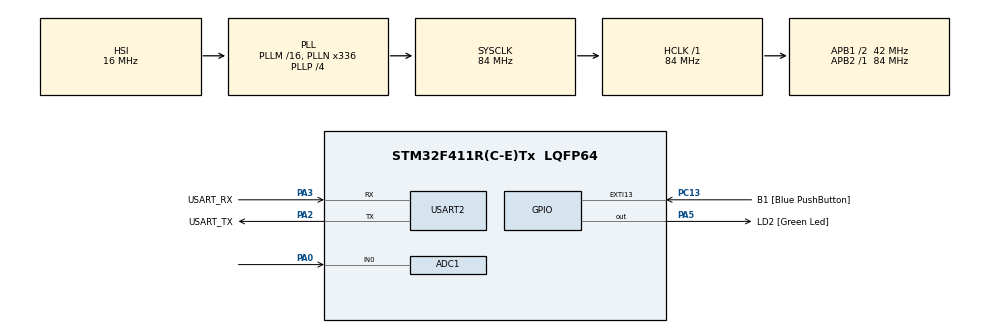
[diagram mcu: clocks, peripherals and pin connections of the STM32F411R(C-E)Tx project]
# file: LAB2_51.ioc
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ADC1.Channel-0\#ChannelRegularConversion=ADC_CHANNEL_0
ADC1.Channel-1\#ChannelRegularConversion=ADC_CHANNEL_TEMPSENSOR
ADC1.ContinuousConvMode=ENABLE
ADC1.DMAContinuousRequests=ENABLE
ADC1.EOCSelection=ADC_EOC_SEQ_CONV
ADC1.NbrOfConversion=2
ADC1.NbrOfConversionFlag=1
ADC1.Rank-0\#ChannelRegularConversion=1
ADC1.Rank-1\#ChannelRegularConversion=2
ADC1.SamplingTime-0\#ChannelRegularConversion=ADC_SAMPLETIME_56CYCLES
ADC1.SamplingTime-1\#ChannelRegularConversion=ADC_SAMPLETIME_56CYCLES
ADC1.ScanConvMode=ENABLE
ADC1.master=1
Dma.ADC1.0.Direction=DMA_PERIPH_TO_MEMORY
Dma.ADC1.0.FIFOMode=DMA_FIFOMODE_DISABLE
Dma.ADC1.0.Instance=DMA2_Stream0
Dma.ADC1.0.MemDataAlignment=DMA_MDATAALIGN_HALFWORD
Dma.ADC1.0.MemInc=DMA_MINC_ENABLE
Dma.ADC1.0.Mode=DMA_CIRCULAR
Dma.ADC1.0.PeriphDataAlignment=DMA_PDATAALIGN_HALFWORD
Dma.ADC1.0.PeriphInc=DMA_PINC_DISABLE
Dma.ADC1.0.Priority=DMA_PRIORITY_LOW
Dma.Request0=ADC1
Mcu.Family=STM32F4
Mcu.Name=STM32F411R(C-E)Tx
Mcu.Package=LQFP64
NVIC.DMA2_Stream0_IRQn=true\:0\:0\:false\:false\:true\:false\:true\:true
NVIC.PriorityGroup=NVIC_PRIORITYGROUP_0
PA0-WKUP.Signal=ADCx_IN0
PA13.GPIO_Label=TMS
PA13.Mode=Serial_Wire
PA13.Signal=SYS_JTMS-SWDIO
PA14.GPIO_Label=TCK
PA14.Mode=Serial_Wire
PA14.Signal=SYS_JTCK-SWCLK
PA2.GPIO_Label=USART_TX
PA2.Mode=Asynchronous
PA2.Signal=USART2_TX
PA3.GPIO_Label=USART_RX
PA3.Mode=Asynchronous
PA3.Signal=USART2_RX
PA5.GPIO_Label=LD2 [Green Led]
PA5.Signal=GPIO_Output
PB3.GPIO_Label=SWO
PB3.Signal=SYS_JTDO-SWO
PC13-ANTI_TAMP.GPIO_Label=B1 [Blue PushButton]
PC13-ANTI_TAMP.GPIO_ModeDefaultEXTI=GPIO_MODE_IT_FALLING
PC13-ANTI_TAMP.Signal=GPXTI13
PC14-OSC32_IN.Mode=LSE-External-Oscillator
PC14-OSC32_IN.Signal=RCC_OSC32_IN
PC15-OSC32_OUT.Mode=LSE-External-Oscillator
PC15-OSC32_OUT.Signal=RCC_OSC32_OUT
PH0\ -\ OSC_IN.Mode=HSE-External-Clock-Source
PH0\ -\ OSC_IN.Signal=RCC_OSC_IN
PH1\ -\ OSC_OUT.Mode=HSE-External-Clock-Source
PH1\ -\ OSC_OUT.Signal=RCC_OSC_OUT
ProjectManager.HeapSize=0x200
ProjectManager.StackSize=0x400
ProjectManager.TargetToolchain=STM32CubeIDE
RCC.48MHZClocksFreq_Value=84000000
RCC.AHBFreq_Value=84000000
RCC.APB1CLKDivider=RCC_HCLK_DIV2
RCC.APB1Freq_Value=42000000
RCC.APB1TimFreq_Value=84000000
RCC.APB2Freq_Value=84000000
RCC.APB2TimFreq_Value=84000000
RCC.CortexFreq_Value=84000000
RCC.FLatency-AdvancedSettings=FLASH_LATENCY_2
RCC.HCLKFreq_Value=84000000
RCC.HSE_VALUE=8000000
RCC.HSI_VALUE=16000000
RCC.PLLN=336
RCC.PLLP=RCC_PLLP_DIV4
RCC.SYSCLKFreq_VALUE=84000000
RCC.SYSCLKSource=RCC_SYSCLKSOURCE_PLLCLK
RCC.VCOOutputFreq_Value=336000000
SH.ADCx_IN0.0=ADC1_IN0,IN0
USART2.VirtualMode=VM_ASYNC
VP_ADC1_TempSens_Input.Mode=IN-TempSens
board=NUCLEO-F411RE

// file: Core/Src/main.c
/* USER CODE BEGIN Header */
/**
  ******************************************************************************
  * @file           : main.c
  * @brief          : Main program body
  ******************************************************************************
  * @attention
  *
  * Copyright (c) 2023 STMicroelectronics.
  * All rights reserved.
  *
  * This software is licensed under terms that can be found in the LICENSE file
  * in the root directory of this software component.
  * If no LICENSE file comes with this software, it is provided AS-IS.
  *
  ******************************************************************************
  */
/* USER CODE END Header */
#include "main.h"

ADC_HandleTypeDef hadc1;
DMA_HandleTypeDef hdma_adc1;

UART_HandleTypeDef huart2;

/* USER CODE BEGIN PV */
uint16_t buf[20];

static uint32_t timestamp = 0;

static double temp 	= 0.0;
static double ana_0 = 0.0;
static double t_c 	= 0.0;
static double a_c 	= 0.0;

static double temp_s = 0.0;
static double ana_0_s = 0.0;
static double ana_0_s_5 = 0.0;
/* USER CODE END PV */

void SystemClock_Config(void);
static void MX_GPIO_Init(void);
static void MX_DMA_Init(void);
static void MX_USART2_UART_Init(void);
static void MX_ADC1_Init(void);

int main(void)
{

  /* MCU Configuration--------------------------------------------------------*/

  /* Reset of all peripherals, Initializes the Flash interface and the Systick. */
  HAL_Init();

  /* Configure the system clock */
  SystemClock_Config();

  /* Initialize all configured peripherals */
  MX_GPIO_Init();
  MX_DMA_Init();
  MX_USART2_UART_Init();
  MX_ADC1_Init();
  /* USER CODE BEGIN 2 */
  HAL_ADC_Start_DMA(&hadc1,(uint32_t*)buf, 20);

  /* USER CODE END 2 */

  /* Infinite loop */
  while (1)
  {

    /* USER CODE BEGIN 3 */
	  if(HAL_GetTick()>timestamp){
	  		  timestamp = HAL_GetTick()+1000;

	  		  for(int i=0;i<20;i=i+2){	//0 2 4 6 8 10 12 14 16 18 20
	  			  ana_0 += buf[i];
	  			  if(buf[i] != 0){
	  				  a_c++;
	  			  }
	  		  }

	  		  ana_0 /= a_c;

	  		  ana_0 /= 4096;
	  		  ana_0 *= 3300;

	  		  for(int i=1;i<20;i=i+2){ // 1 3 5 7 9 11 13 15 17 19
	  			  temp += buf[i];
	  			  if(buf[i] != 0){
					  t_c++;
				  }
	  		  }

	  		  temp /= t_c;

	  		  temp /= 4096;
	  		  temp *= 3300; //convert to mV

	  		  temp = ((temp - 760)/2.5)+ 25; //to Celsius

	  		  temp_s = temp;
	  		  ana_0_s = ana_0;
	  		  ana_0_s_5 = ana_0 * 2;

	  		  int hello = 69;

	  		  temp 	= 0;
			  ana_0 = 0;
			  t_c 	= 0;
			  a_c 	= 0;
	  }
  }
  /* USER CODE END 3 */
}

void SystemClock_Config(void)
{
  RCC_OscInitTypeDef RCC_OscInitStruct = {0};
  RCC_ClkInitTypeDef RCC_ClkInitStruct = {0};

  /** Configure the main internal regulator output voltage
  */
  __HAL_RCC_PWR_CLK_ENABLE();
  __HAL_PWR_VOLTAGESCALING_CONFIG(PWR_REGULATOR_VOLTAGE_SCALE1);

  /** Initializes the RCC Oscillators according to the specified parameters
  * in the RCC_OscInitTypeDef structure.
  */
  RCC_OscInitStruct.OscillatorType = RCC_OSCILLATORTYPE_HSI;
  RCC_OscInitStruct.HSIState = RCC_HSI_ON;
  RCC_OscInitStruct.HSICalibrationValue = RCC_HSICALIBRATION_DEFAULT;
  RCC_OscInitStruct.PLL.PLLState = RCC_PLL_ON;
  RCC_OscInitStruct.PLL.PLLSource = RCC_PLLSOURCE_HSI;
  RCC_OscInitStruct.PLL.PLLM = 16;
  RCC_OscInitStruct.PLL.PLLN = 336;
  RCC_OscInitStruct.PLL.PLLP = RCC_PLLP_DIV4;
  RCC_OscInitStruct.PLL.PLLQ = 4;
  if (HAL_RCC_OscConfig(&RCC_OscInitStruct) != HAL_OK)
  {
    Error_Handler();
  }

  /** Initializes the CPU, AHB and APB buses clocks
  */
  RCC_ClkInitStruct.ClockType = RCC_CLOCKTYPE_HCLK|RCC_CLOCKTYPE_SYSCLK
                              |RCC_CLOCKTYPE_PCLK1|RCC_CLOCKTYPE_PCLK2;
  RCC_ClkInitStruct.SYSCLKSource = RCC_SYSCLKSOURCE_PLLCLK;
  RCC_ClkInitStruct.AHBCLKDivider = RCC_SYSCLK_DIV1;
  RCC_ClkInitStruct.APB1CLKDivider = RCC_HCLK_DIV2;
  RCC_ClkInitStruct.APB2CLKDivider = RCC_HCLK_DIV1;

  if (HAL_RCC_ClockConfig(&RCC_ClkInitStruct, FLASH_LATENCY_2) != HAL_OK)
  {
    Error_Handler();
  }
}

static void MX_ADC1_Init(void)
{

  ADC_ChannelConfTypeDef sConfig = {0};

  /** Configure the global features of the ADC (Clock, Resolution, Data Alignment and number of conversion)
  */
  hadc1.Instance = ADC1;
  hadc1.Init.ClockPrescaler = ADC_CLOCK_SYNC_PCLK_DIV4;
  hadc1.Init.Resolution = ADC_RESOLUTION_12B;
  hadc1.Init.ScanConvMode = ENABLE;
  hadc1.Init.ContinuousConvMode = ENABLE;
  hadc1.Init.DiscontinuousConvMode = DISABLE;
  hadc1.Init.ExternalTrigConvEdge = ADC_EXTERNALTRIGCONVEDGE_NONE;
  hadc1.Init.ExternalTrigConv = ADC_SOFTWARE_START;
  hadc1.Init.DataAlign = ADC_DATAALIGN_RIGHT;
  hadc1.Init.NbrOfConversion = 2;
  hadc1.Init.DMAContinuousRequests = ENABLE;
  hadc1.Init.EOCSelection = ADC_EOC_SEQ_CONV;
  if (HAL_ADC_Init(&hadc1) != HAL_OK)
  {
    Error_Handler();
  }

  /** Configure for the selected ADC regular channel its corresponding rank in the sequencer and its sample time.
  */
  sConfig.Channel = ADC_CHANNEL_0;
  sConfig.Rank = 1;
  sConfig.SamplingTime = ADC_SAMPLETIME_56CYCLES;
  if (HAL_ADC_ConfigChannel(&hadc1, &sConfig) != HAL_OK)
  {
    Error_Handler();
  }

  /** Configure for the selected ADC regular channel its corresponding rank in the sequencer and its sample time.
  */
  sConfig.Channel = ADC_CHANNEL_TEMPSENSOR;
  sConfig.Rank = 2;
  if (HAL_ADC_ConfigChannel(&hadc1, &sConfig) != HAL_OK)
  {
    Error_Handler();
  }

}

static void MX_USART2_UART_Init(void)
{

  huart2.Instance = USART2;
  huart2.Init.BaudRate = 115200;
  huart2.Init.WordLength = UART_WORDLENGTH_8B;
  huart2.Init.StopBits = UART_STOPBITS_1;
  huart2.Init.Parity = UART_PARITY_NONE;
  huart2.Init.Mode = UART_MODE_TX_RX;
  huart2.Init.HwFlowCtl = UART_HWCONTROL_NONE;
  huart2.Init.OverSampling = UART_OVERSAMPLING_16;
  if (HAL_UART_Init(&huart2) != HAL_OK)
  {
    Error_Handler();
  }

}

static void MX_DMA_Init(void)
{

  /* DMA controller clock enable */
  __HAL_RCC_DMA2_CLK_ENABLE();

  /* DMA interrupt init */
  /* DMA2_Stream0_IRQn interrupt configuration */
  HAL_NVIC_SetPriority(DMA2_Stream0_IRQn, 0, 0);
  HAL_NVIC_EnableIRQ(DMA2_Stream0_IRQn);

}

static void MX_GPIO_Init(void)
{
  GPIO_InitTypeDef GPIO_InitStruct = {0};

  /* GPIO Ports Clock Enable */
  __HAL_RCC_GPIOC_CLK_ENABLE();
  __HAL_RCC_GPIOH_CLK_ENABLE();
  __HAL_RCC_GPIOA_CLK_ENABLE();
  __HAL_RCC_GPIOB_CLK_ENABLE();

  /*Configure GPIO pin Output Level */
  HAL_GPIO_WritePin(LD2_GPIO_Port, LD2_Pin, GPIO_PIN_RESET);

  /*Configure GPIO pin : B1_Pin */
  GPIO_InitStruct.Pin = B1_Pin;
  GPIO_InitStruct.Mode = GPIO_MODE_IT_FALLING;
  GPIO_InitStruct.Pull = GPIO_NOPULL;
  HAL_GPIO_Init(B1_GPIO_Port, &GPIO_InitStruct);

  /*Configure GPIO pin : LD2_Pin */
  GPIO_InitStruct.Pin = LD2_Pin;
  GPIO_InitStruct.Mode = GPIO_MODE_OUTPUT_PP;
  GPIO_InitStruct.Pull = GPIO_NOPULL;
  GPIO_InitStruct.Speed = GPIO_SPEED_FREQ_LOW;
  HAL_GPIO_Init(LD2_GPIO_Port, &GPIO_InitStruct);

}

void Error_Handler(void)
{
  __disable_irq();
  while (1)
  {
  }
}
